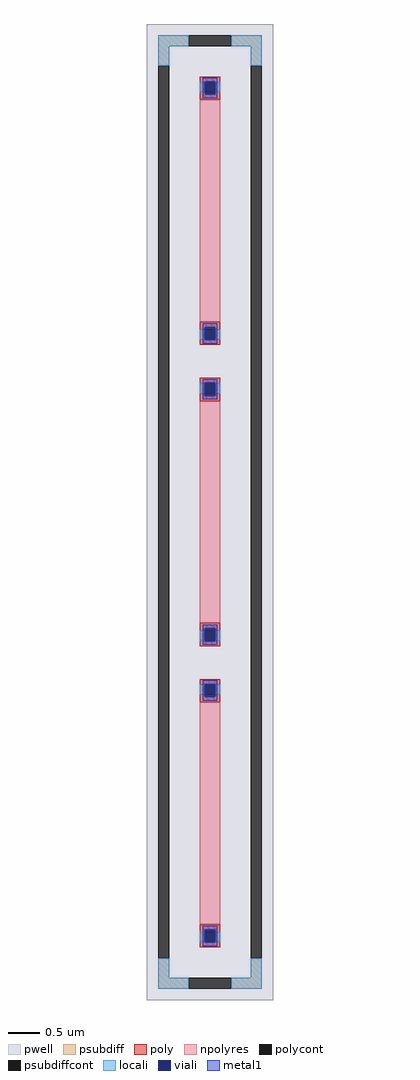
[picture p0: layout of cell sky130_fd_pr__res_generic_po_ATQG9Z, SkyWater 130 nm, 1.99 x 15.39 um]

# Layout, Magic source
magic
tech sky130B
magscale 1 2
<< pwell >>
rect -199 -1539 199 1539
<< psubdiff >>
rect -163 1469 -67 1503
rect 67 1469 163 1503
rect -163 1407 -129 1469
rect 129 1407 163 1469
rect -163 -1469 -129 -1407
rect 129 -1469 163 -1407
rect -163 -1503 -67 -1469
rect 67 -1503 163 -1469
<< psubdiffcont >>
rect -67 1469 67 1503
rect -163 -1407 -129 1407
rect 129 -1407 163 1407
rect -67 -1503 67 -1469
<< poly >>
rect -33 1357 33 1373
rect -33 1323 -17 1357
rect 17 1323 33 1357
rect -33 1300 33 1323
rect -33 577 33 600
rect -33 543 -17 577
rect 17 543 33 577
rect -33 527 33 543
rect -33 407 33 423
rect -33 373 -17 407
rect 17 373 33 407
rect -33 350 33 373
rect -33 -373 33 -350
rect -33 -407 -17 -373
rect 17 -407 33 -373
rect -33 -423 33 -407
rect -33 -543 33 -527
rect -33 -577 -17 -543
rect 17 -577 33 -543
rect -33 -600 33 -577
rect -33 -1323 33 -1300
rect -33 -1357 -17 -1323
rect 17 -1357 33 -1323
rect -33 -1373 33 -1357
<< polycont >>
rect -17 1323 17 1357
rect -17 543 17 577
rect -17 373 17 407
rect -17 -407 17 -373
rect -17 -577 17 -543
rect -17 -1357 17 -1323
<< npolyres >>
rect -33 600 33 1300
rect -33 -350 33 350
rect -33 -1300 33 -600
<< locali >>
rect -163 1469 -67 1503
rect 67 1469 163 1503
rect -163 1407 -129 1469
rect 129 1407 163 1469
rect -33 1323 -17 1357
rect 17 1323 33 1357
rect -33 543 -17 577
rect 17 543 33 577
rect -33 373 -17 407
rect 17 373 33 407
rect -33 -407 -17 -373
rect 17 -407 33 -373
rect -33 -577 -17 -543
rect 17 -577 33 -543
rect -33 -1357 -17 -1323
rect 17 -1357 33 -1323
rect -163 -1469 -129 -1407
rect 129 -1469 163 -1407
rect -163 -1503 -67 -1469
rect 67 -1503 163 -1469
<< viali >>
rect -17 1323 17 1357
rect -17 1317 17 1323
rect -17 577 17 583
rect -17 543 17 577
rect -17 373 17 407
rect -17 367 17 373
rect -17 -373 17 -367
rect -17 -407 17 -373
rect -17 -577 17 -543
rect -17 -583 17 -577
rect -17 -1323 17 -1317
rect -17 -1357 17 -1323
<< metal1 >>
rect -23 1357 23 1369
rect -23 1317 -17 1357
rect 17 1317 23 1357
rect -23 1305 23 1317
rect -23 583 23 595
rect -23 543 -17 583
rect 17 543 23 583
rect -23 531 23 543
rect -23 407 23 419
rect -23 367 -17 407
rect 17 367 23 407
rect -23 355 23 367
rect -23 -367 23 -355
rect -23 -407 -17 -367
rect 17 -407 23 -367
rect -23 -419 23 -407
rect -23 -543 23 -531
rect -23 -583 -17 -543
rect 17 -583 23 -543
rect -23 -595 23 -583
rect -23 -1317 23 -1305
rect -23 -1357 -17 -1317
rect 17 -1357 23 -1317
rect -23 -1369 23 -1357
<< properties >>
string FIXED_BBOX -146 -1486 146 1486
string gencell sky130_fd_pr__res_generic_po
string library sky130
string parameters w 0.33 l 3.5 m 3 nx 1 wmin 0.330 lmin 1.650 rho 48.2 val 511.212 dummy 0 dw 0.0 term 0.0 sterm 0.0 caplen 0.4 snake 1 guard 1 glc 1 grc 1 gtc 1 gbc 1 roverlap 0 endcov 100 full_metal 1 hv_guard 0 n_guard 0 vias 1 viagb 0 viagt 0 viagl 0 viagr 0
<< end >>
